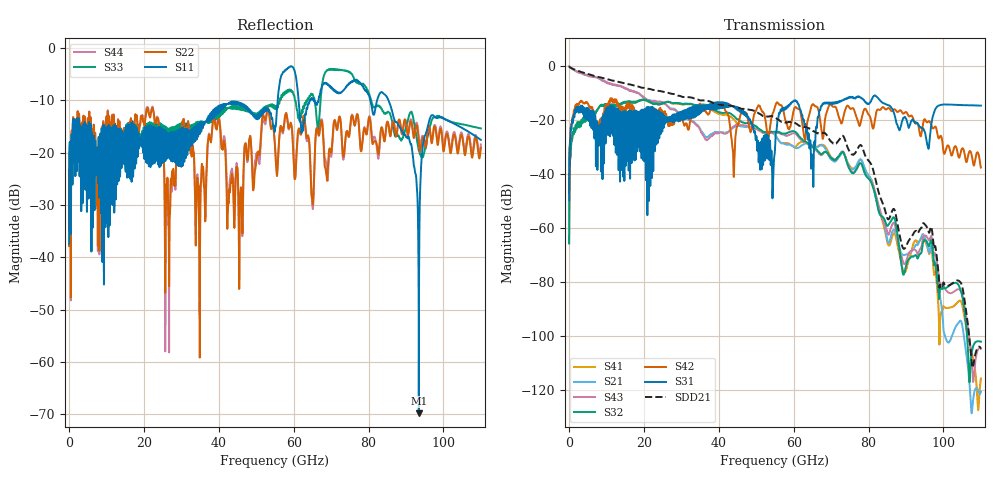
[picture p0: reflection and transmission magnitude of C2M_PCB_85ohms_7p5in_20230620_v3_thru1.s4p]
! Info: Touchstone file created by Circ.  Input file=C2M_PCB_85ohms_7p5in_20230620_v3.circ
# Hz S RI R 50
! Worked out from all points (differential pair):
!   11000 points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, 10 MHz to 110 GHz, reference 50 ohm
!   strongest paths, dB at 10 MHz, 27.51 GHz, 55.01 GHz, 82.51 GHz, 110 GHz:
!     S31: -49.7, -18.9, -30.5, -11.9, -14.7
!     S42: -49.6, -20.8, -15.1, -16.1, -37.6
!     S32: -65.6, -13.8, -24.4, -52.7, -102.0
!     S43: -0.1, -16.1, -24.7, -50.7, -104.7
!     S21: -0.1, -15.8, -25.4, -52.5, -120.4
!     S41: -65.6, -14.0, -25.5, -51.5, -115.7
!   taken as a pair (ports 3,1 in; 4,2 out), SDD21 dB: -0.1, -10.4, -19.1, -45.8, -104.6
!   lowest |S11| = -69.8 dB at 93.42 GHz (marker M1), VSWR 1.00, Z = 50 - j0.0209 ohm
!   |S11| at or under -10 dB: start of sweep to 55.74 GHz; 61.28 GHz to 64.24 GHz (2.969 GHz wide, 4.73 % of centre); 85.31 GHz to end of sweep (the widest 3 of 6)
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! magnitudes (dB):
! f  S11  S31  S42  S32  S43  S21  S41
! 10 MHz  -37.4  -49.7  -49.6  -65.6  -0.1  -0.1  -65.6
! 8.24 GHz  -18.2  -27.8  -21.9  -14.7  -4.9  -4.9  -14.7
! 36.24 GHz  -14.1  -15.7  -16.6  -14.3  -26.7  -25.9  -14.7
! 54.35 GHz  -13.9  -48.1  -17.7  -24.4  -24.8  -24.8  -24.9
! 73.1 GHz  -8.2  -12.8  -19.9  -31.9  -31.7  -32.0  -31.8
! 93.42 GHz  -69.8  -21.9  -22.9  -70.3  -68.8  -65.4  -65.2
! 110 GHz  -17.6  -14.7  -37.6  -102.0  -104.7  -120.4  -115.7
